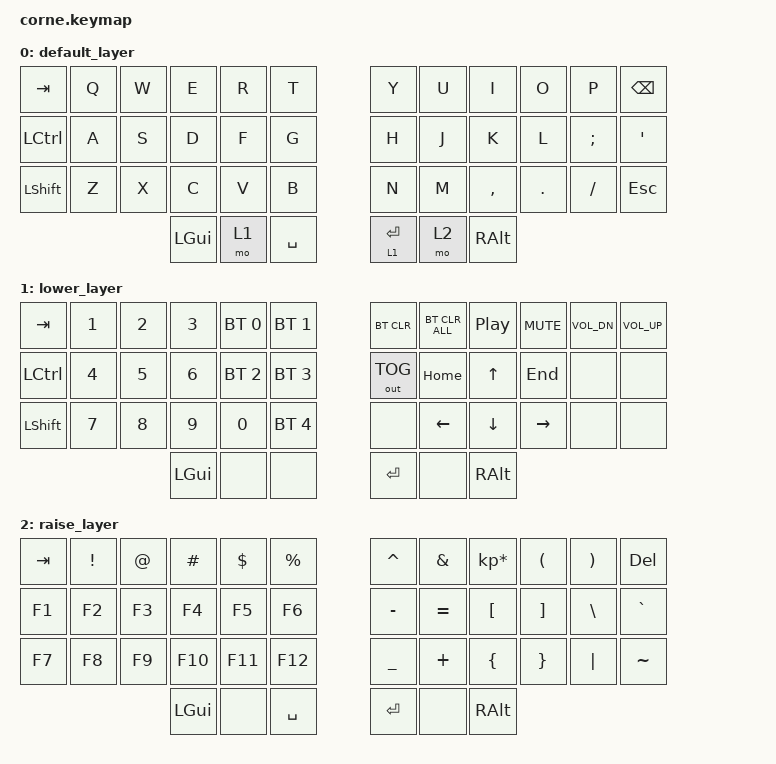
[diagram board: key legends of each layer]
/*
 * Copyright (c) 2020 The ZMK Contributors
 *
 * SPDX-License-Identifier: MIT
 */

#include <behaviors.dtsi>
#include <dt-bindings/zmk/keys.h>
#include <dt-bindings/zmk/bt.h>
#include <dt-bindings/zmk/outputs.h>

/ {
    macros {
        mac_home: mac_home {
            compatible = "zmk,behavior-macro";
            #binding-cells = <0>;
            bindings
                = <&macro_press &kp LGUI>
                , <&macro_tap &kp LEFT>
                , <&macro_release &kp LGUI>
                , <&macro_tap &kp HOME>
                ;
        };
        mac_end: mac_end {
            compatible = "zmk,behavior-macro";
            #binding-cells = <0>;
            bindings
                = <&macro_press &kp LGUI>
                , <&macro_tap &kp RIGHT>
                , <&macro_release &kp LGUI>
                , <&macro_tap &kp END>
                ;
        };
    };
        keymap {
                compatible = "zmk,keymap";

                default_layer {
                        bindings = <
&kp TAB   &kp Q &kp W   &kp E       &kp R   &kp T           &kp Y       &kp U   &kp I     &kp O   &kp P    &kp BSPC
&kp LCTRL &kp A &kp S   &kp D       &kp F   &kp G           &kp H       &kp J   &kp K     &kp L   &kp SEMI &kp SQT
&kp LSHFT &kp Z &kp X   &kp C       &kp V   &kp B           &kp N       &kp M   &kp COMMA &kp DOT &kp FSLH &kp ESC
                        &kp LGUI    &mo 1   &kp SPACE       &lt 1 RET   &mo 2   &kp RALT
                        >;
                };
                lower_layer {
                        bindings = <
&kp TAB    &kp N1  &kp N2  &kp N3   &bt BT_SEL 0  &bt BT_SEL 1  &bt BT_CLR   &bt BT_CLR_ALL &kp C_PP  &kp C_MUTE  &kp C_VOL_DN  &kp C_VOL_UP
&kp LCTRL  &kp N4  &kp N5  &kp N6   &bt BT_SEL 2  &bt BT_SEL 3  &out OUT_TOG &kp HOME       &kp UP    &kp END    &none         &none
&kp LSHFT  &kp N7  &kp N8  &kp N9   &kp N0        &bt BT_SEL 4  &none        &kp LEFT       &kp DOWN  &kp RIGHT   &none         &none

                           &kp LGUI &none         &none         &kp RET      &none       &kp RALT
                        >;
                };

                raise_layer {
                        bindings = <
&kp TAB     &kp EXCL    &kp AT  &kp HASH    &kp DLLR    &kp PRCNT   &kp CARET &kp AMPS  &kp KP_MULTIPLY &kp LPAR &kp RPAR &kp DEL
&kp F1      &kp F2      &kp F3  &kp F4      &kp F5      &kp F6      &kp MINUS &kp EQUAL &kp LBKT        &kp RBKT &kp BSLH &kp GRAVE
&kp F7      &kp F8      &kp F9  &kp F10     &kp F11     &kp F12     &kp UNDER &kp PLUS  &kp LBRC        &kp RBRC &kp PIPE &kp TILDE
                                &kp LGUI    &none       &kp SPACE   &kp RET   &none     &kp RALT
                        >;
                };
        };
};
